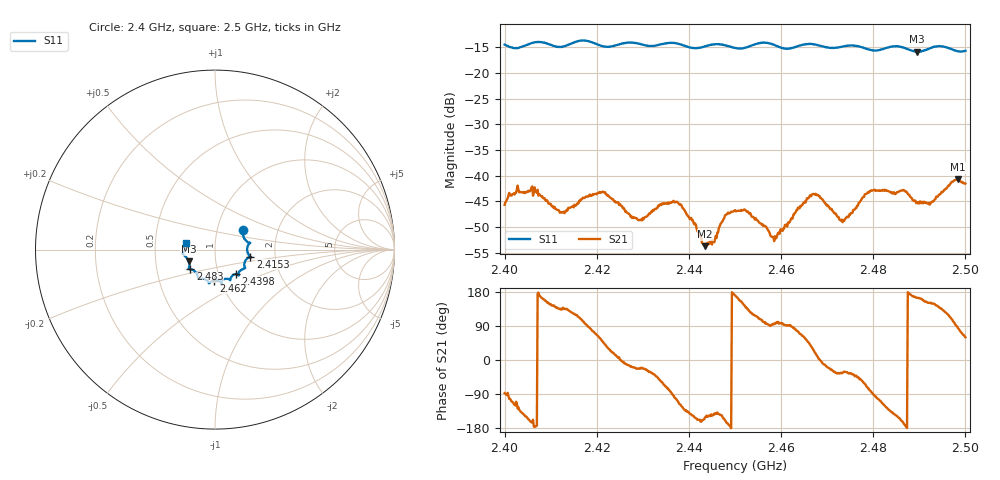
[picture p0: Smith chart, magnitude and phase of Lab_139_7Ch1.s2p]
# Hz S RI R 50
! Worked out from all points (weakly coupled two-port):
!   601 points, 2.4 GHz to 2.5 GHz, reference 50 ohm
!   highest |S21| = -40.74 dB at 2.4983 GHz (marker M1); lowest = -53.8 dB at 2.4435 GHz (marker M2)
!   lowest |S11| = -15.9 dB at 2.4895 GHz (marker M3), VSWR 1.38, Z = 37 - j5 ohm
!   |S11| at or under -10 dB: start of sweep to end of sweep
!   S12 and S22 are empty: the file has one direction only
!   S11 on the Smith chart (normalised r, x): 2.4 GHz: 1.33, +0.29; 2.4153 GHz: 1.48, -0.12; 2.4398 GHz: 1.21, -0.34; 2.462 GHz: 0.93, -0.33; 2.483 GHz: 0.74, -0.17; 2.5 GHz: 0.72, +0.06
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2.4e9  0.1551 0.107  0.000233 -0.00518  0 0  0 0
2.4055e9  0.1886 0.0387  -0.00665 -0.00229  0 0  0 0
2.4125e9  0.1795 -0.00759  -0.00307 0.00308  0 0  0 0
2.415333e9  0.1964 -0.0388  -0.0025 0.00444  0 0  0 0
2.416667e9  0.2023 -0.0427  -0.00169 0.00559  0 0  0 0
2.421333e9  0.1724 -0.0567  0.00463 0.00521  0 0  0 0
2.429333e9  0.1591 -0.1068  0.00341 -0.00146  0 0  0 0
2.433333e9  0.1308 -0.1337  0.00342 -0.00377  0 0  0 0
2.437167e9  0.1318 -0.1432  -0.00118 -0.00541  0 0  0 0
2.439833e9  0.1153 -0.1362  -0.00294 -0.0027  0 0  0 0
2.4435e9  0.087 -0.1593  -0.0018 -0.000989  0 0  0 0
2.45e9  0.0648 -0.1626  -0.00455 0.000752  0 0  0 0
2.4585e9  0.0345 -0.1843  -0.000267 0.00228  0 0  0 0
2.462e9  -0.00485 -0.1731  -0.000142 0.00362  0 0  0 0
2.466667e9  -0.0342 -0.1881  0.00547 0.00358  0 0  0 0
2.473167e9  -0.0814 -0.1605  0.00304 -0.00215  0 0  0 0
2.478667e9  -0.1013 -0.1375  0.00219 -0.00636  0 0  0 0
2.483e9  -0.1375 -0.1096  -0.0042 -0.00572  0 0  0 0
2.483333e9  -0.1401 -0.1094  -0.00462 -0.00533  0 0  0 0
2.4895e9  -0.1462 -0.0659  -0.00528 0.00151  0 0  0 0
2.498333e9  -0.162 0.0105  0.000744 0.00915  0 0  0 0
2.5e9  -0.1596 0.0391  0.00418 0.00724  0 0  0 0
